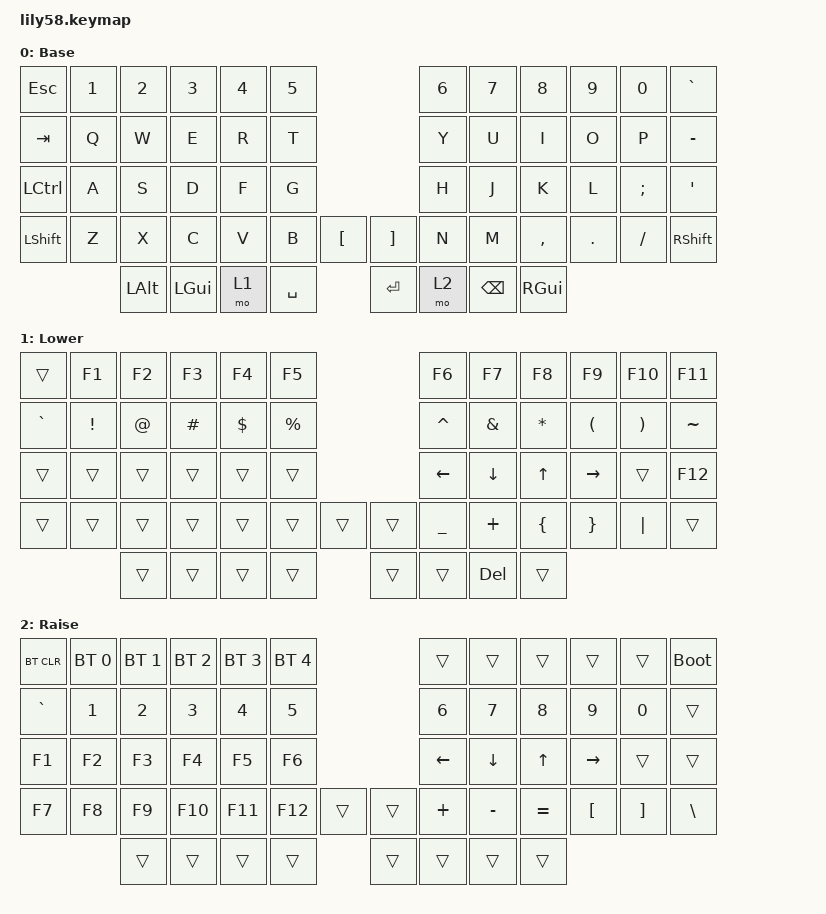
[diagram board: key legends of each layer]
/*
 * Lily58 keymap for ZMK
 *
 * Layers:
 *   0 Base  - QWERTY
 *   1 Lower - symbols, function keys, arrows   (hold left inner thumb)
 *   2 Raise - numbers, Bluetooth, arrows        (hold right inner thumb)
 *
 * Bluetooth: hold Raise and press the top-left keys
 *   BT_CLR clears the current profile's pairing, BT 0-4 switch between devices.
 */

#include <behaviors.dtsi>
#include <dt-bindings/zmk/keys.h>
#include <dt-bindings/zmk/bt.h>

/ {
    keymap {
        compatible = "zmk,keymap";

        base {
            display-name = "Base";
            bindings = <
&kp ESC   &kp N1 &kp N2 &kp N3 &kp N4 &kp N5                       &kp N6 &kp N7 &kp N8    &kp N9  &kp N0   &kp GRAVE
&kp TAB   &kp Q  &kp W  &kp E  &kp R  &kp T                        &kp Y  &kp U  &kp I     &kp O   &kp P    &kp MINUS
&kp LCTRL &kp A  &kp S  &kp D  &kp F  &kp G                        &kp H  &kp J  &kp K     &kp L   &kp SEMI &kp SQT
&kp LSHFT &kp Z  &kp X  &kp C  &kp V  &kp B  &kp LBKT    &kp RBKT  &kp N  &kp M  &kp COMMA &kp DOT &kp FSLH &kp RSHFT
                 &kp LALT &kp LGUI &mo 1 &kp SPACE       &kp RET   &mo 2  &kp BSPC &kp RGUI
            >;
        };

        lower {
            display-name = "Lower";
            bindings = <
&trans    &kp F1   &kp F2 &kp F3   &kp F4     &kp F5                        &kp F6    &kp F7    &kp F8    &kp F9    &kp F10   &kp F11
&kp GRAVE &kp EXCL &kp AT &kp HASH &kp DOLLAR &kp PRCNT                     &kp CARET &kp AMPS  &kp ASTRK &kp LPAR  &kp RPAR  &kp TILDE
&trans    &trans   &trans &trans   &trans     &trans                        &kp LEFT  &kp DOWN  &kp UP    &kp RIGHT &trans    &kp F12
&trans    &trans   &trans &trans   &trans     &trans  &trans      &trans    &kp UNDER &kp PLUS  &kp LBRC  &kp RBRC  &kp PIPE  &trans
                          &trans   &trans     &trans  &trans      &trans    &trans    &kp DEL   &trans
            >;
        };

        raise {
            display-name = "Raise";
            bindings = <
&bt BT_CLR &bt BT_SEL 0 &bt BT_SEL 1 &bt BT_SEL 2 &bt BT_SEL 3 &bt BT_SEL 4                   &trans    &trans    &trans    &trans     &trans     &bootloader
&kp GRAVE  &kp N1       &kp N2       &kp N3       &kp N4       &kp N5                         &kp N6    &kp N7    &kp N8    &kp N9     &kp N0     &trans
&kp F1     &kp F2       &kp F3       &kp F4       &kp F5       &kp F6                         &kp LEFT  &kp DOWN  &kp UP    &kp RIGHT  &trans     &trans
&kp F7     &kp F8       &kp F9       &kp F10      &kp F11      &kp F12      &trans   &trans   &kp PLUS  &kp MINUS &kp EQUAL &kp LBKT   &kp RBKT   &kp BSLH
                                     &trans       &trans       &trans       &trans   &trans   &trans    &trans    &trans
            >;
        };
    };
};
